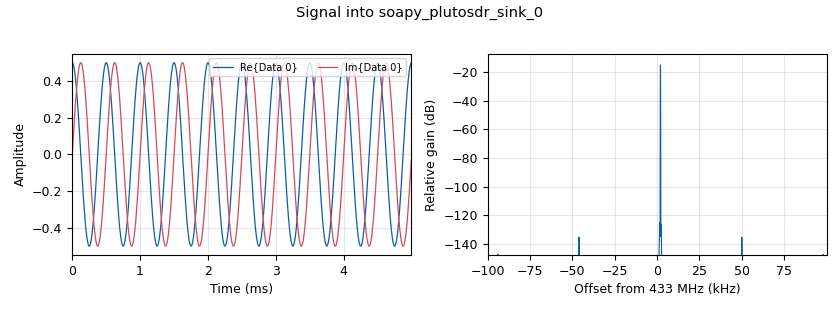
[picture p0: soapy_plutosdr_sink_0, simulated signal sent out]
options:
  parameters:
    author: maheswaran
    generate_options: qt_gui
    id: IQ_Modulator_pluto
    output_language: python
    title: Not titled yet
  states: {}

blocks:
- name: a
  id: variable
  parameters:
    value: '1'
  states: {}
- name: b
  id: variable
  parameters:
    value: '1'
  states: {}
- name: c
  id: variable
  parameters:
    value: '0'
  states: {state: disabled}
- name: c
  id: variable_qtgui_range
  parameters:
    start: '0'
    step: '0.1'
    stop: '0.7'
    value: '0'
  states: {}
- name: fc
  id: variable
  parameters:
    value: int(433e6)
  states: {}
- name: fm
  id: variable
  parameters:
    value: '2000'
  states: {state: disabled}
- name: fm
  id: variable_qtgui_range
  parameters:
    start: '1000'
    step: '500'
    stop: '5000'
    value: '2000'
  states: {}
- name: gain_rx
  id: variable_qtgui_range
  parameters:
    label: gain_rx
    start: '0'
    step: '1'
    stop: '71'
    value: '10'
  states: {}
- name: gain_tx
  id: variable_qtgui_range
  parameters:
    start: '0'
    step: '1'
    stop: '89'
    value: '10'
  states: {}
- name: samp_rate
  id: variable
  parameters:
    value: int(200e3)
  states: {}
- name: analog_sig_source_x_0_0
  id: analog_sig_source_x
  parameters:
    amp: a/2
    freq: fm
    offset: '0'
    phase: '0'
    samp_rate: samp_rate
    type: float
    waveform: analog.GR_COS_WAVE
  states: {}
- name: analog_sig_source_x_0_0_0
  id: analog_sig_source_x
  parameters:
    amp: b/2
    freq: fm
    offset: '0'
    phase: '0'
    samp_rate: samp_rate
    type: float
    waveform: analog.GR_SIN_WAVE
  states: {}
- name: blocks_add_const_vxx_0
  id: blocks_add_const_vxx
  parameters:
    const: complex(c)
    type: complex
  states: {}
- name: blocks_float_to_complex_0
  id: blocks_float_to_complex
  parameters: {}
  states: {}
- name: import_0
  id: import
  parameters:
    imports: import numpy
  states: {}
- name: note_0
  id: note
  parameters:
    comment: |-
      Case 1:
      Unmodulated carrier - a = 0, b = 0, c = 1

      Case 2:
      Upper side band modulation - a = 1, b = 1 , c = 0

      Case 3:
      Lower side band modulation - a = 1, b = -1 , c = 0

      Case 4: 
      Amplitude modulation - a = 1, b = 0, c = 1
  states: {}
- name: qtgui_freq_sink_x_0
  id: qtgui_freq_sink_x
  parameters:
    autoscale: 'True'
    average: '0.2'
    bw: samp_rate
    fc: fc
    fftsize: '1024'
    type: complex
  states: {}
- name: qtgui_waterfall_sink_x_0
  id: qtgui_waterfall_sink_x
  parameters:
    bw: samp_rate
    fc: fc
    fftsize: '1024'
    type: complex
  states: {}
- name: soapy_plutosdr_sink_0
  id: soapy_plutosdr_sink
  parameters:
    center_freq: fc
    dev_args: ip:pluto.local
    gain: gain_tx
    samp_rate: samp_rate
    type: fc32
  states: {}
- name: soapy_plutosdr_source_0
  id: soapy_plutosdr_source
  parameters:
    center_freq: fc
    dev_args: ip:pluto.local
    gain: gain_rx
    samp_rate: samp_rate
    type: fc32
  states: {}

connections:
- [analog_sig_source_x_0_0, '0', blocks_float_to_complex_0, '0']
- [analog_sig_source_x_0_0_0, '0', blocks_float_to_complex_0, '1']
- [blocks_add_const_vxx_0, '0', soapy_plutosdr_sink_0, '0']
- [blocks_float_to_complex_0, '0', blocks_add_const_vxx_0, '0']
- [soapy_plutosdr_source_0, '0', qtgui_freq_sink_x_0, '0']
- [soapy_plutosdr_source_0, '0', qtgui_waterfall_sink_x_0, '0']

metadata:
  file_format: 1
  grc_version: 3.10.12.0
